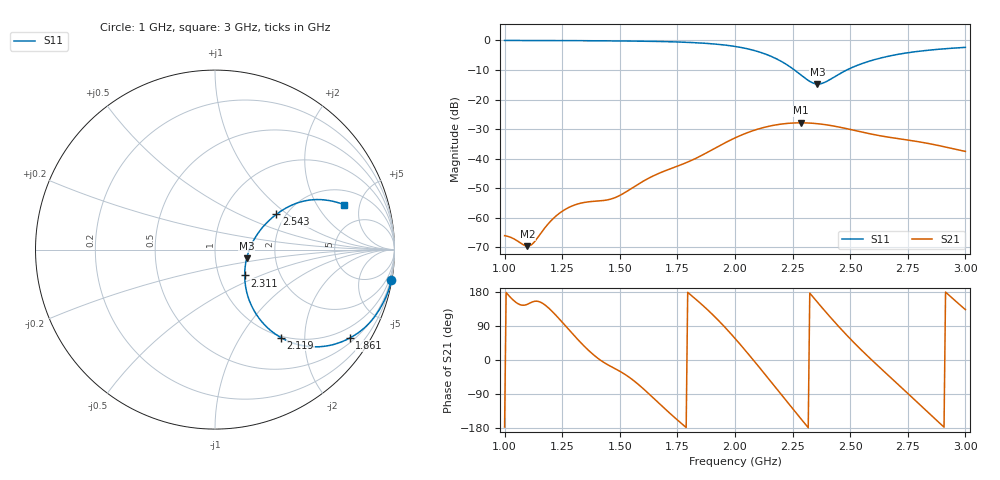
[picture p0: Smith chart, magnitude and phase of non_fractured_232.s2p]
! TOUCHSTONE file generated by CST MICROWAVE STUDIO
! Date and time: Sat Mar  8 13:55:40 2025
! Project name: non_fractured.cst
! Parameters = {B=2.5; D=160; F=25; Feed=2.85625; L=100; M=20; R=0.384908; S=1.5; Theta=270; length=57.125; wave=114.25}
! Header version: 2024
! Port assignment regex: !\s*Touchstone port\s*([0-9]+)\s*=\s*(CST MWS port|CST DES external port|CST DES block port)\s*(.+)\s* \(\"(.*)\"\)(\s*mode\s*([0-9]+))?.*
! Touchstone port assignment:
! Touchstone port 1 = CST MWS port 1 ("")
! Touchstone port 2 = CST MWS port 2 ("")
# GHz S DB R 50
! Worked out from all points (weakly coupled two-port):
!   303 points, 1 GHz to 3 GHz, reference 50 ohm
!   highest |S21| = -27.87 dB at 2.285 GHz (marker M1); lowest = -69.6 dB at 1.099 GHz (marker M2)
!   lowest |S11| = -14.7 dB at 2.358 GHz (marker M3), VSWR 1.45, Z = 71 - j7.23 ohm
!   |S11| at or under -10 dB: 2.258 GHz to 2.485 GHz (227.1 MHz wide, 9.58 % of centre)
!   S12 and S22 are empty: the file has one direction only
!   S11 on the Smith chart (normalised r, x): 1 GHz: 0, -12; 1.861 GHz: 0.63, -3.23; 2.119 GHz: 0.98, -1.53; 2.311 GHz: 1.33, -0.40; 2.543 GHz: 1.79, +0.84; 3 GHz: 3.00, +3.56
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1  -0.02 -9.8  -66.04 -176.9  -200.00 0.0  -200.00 0.0
1.09934  -0.03 -11.1  -69.59 147.2  -200.00 0.0  -200.00 0.0
1.12583  -0.04 -11.5  -68.44 154.3  -200.00 0.0  -200.00 0.0
1.18543  -0.05 -12.5  -62.37 140.2  -200.00 0.0  -200.00 0.0
1.23179  -0.06 -13.2  -58.82 112.0  -200.00 0.0  -200.00 0.0
1.28477  -0.08 -14.2  -56.27 76.1  -200.00 0.0  -200.00 0.0
1.33775  -0.10 -15.2  -54.92 41.3  -200.00 0.0  -200.00 0.0
1.47682  -0.17 -18.2  -53.25 -22.1  -200.00 0.0  -200.00 0.0
1.66887  -0.36 -24.1  -44.99 -113.5  -200.00 0.0  -200.00 0.0
1.86093  -0.93 -33.3  -38.67 143.7  -200.00 0.0  -200.00 0.0
2  -2.04 -43.2  -32.98 57.0  -200.00 0.0  -200.00 0.0
2.11921  -4.27 -53.2  -29.56 -29.6  -200.00 0.0  -200.00 0.0
2.2053  -7.28 -57.5  -28.25 -94.4  -200.00 0.0  -200.00 0.0
2.28477  -11.60 -49.8  -27.87 -154.1  -200.00 0.0  -200.00 0.0
2.31126  -13.18 -41.1  -27.91 -173.7  -200.00 0.0  -200.00 0.0
2.33775  -14.39 -27.7  -28.03 166.9  -200.00 0.0  -200.00 0.0
2.35762  -14.75 -15.6  -28.17 152.5  -200.00 0.0  -200.00 0.0
2.39073  -14.14 3.3  -28.48 129.0  -200.00 0.0  -200.00 0.0
2.54305  -8.07 29.9  -30.87 29.6  -200.00 0.0  -200.00 0.0
2.66887  -5.31 29.2  -32.76 -42.5  -200.00 0.0  -200.00 0.0
2.80795  -3.59 24.8  -34.42 -121.2  -200.00 0.0  -200.00 0.0
3  -2.35 19.0  -37.55 132.9  -200.00 0.0  -200.00 0.0
